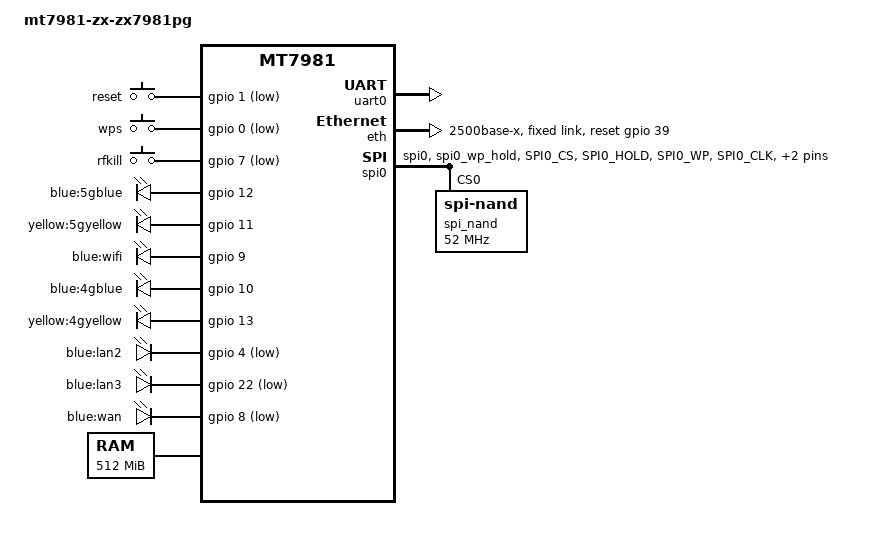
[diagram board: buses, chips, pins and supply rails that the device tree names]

// SPDX-License-Identifier: GPL-2.0

/dts-v1/;
#include "mt7981.dtsi"
#include <dt-bindings/gpio/gpio.h>

/ {
	#address-cells = <1>;
	#size-cells = <1>;
	model = "mt7981-zx-zx7981pg";
	compatible = "mediatek,mt7981", "mediatek,mt7981-rfb";

	config {
		bootcmd = "mtkboardboot";
		blink_led = "blue:5gblue";
		system_led = "yellow:5gyellow";
	};

	gpio-keys {
		compatible = "gpio-keys";

		button-reset {
			label = "reset";
			linux,code = <KEY_RESTART>;
			gpios = <&gpio 1 1>;
		};

		button-wps {
			label = "wps";
			linux,code = <KEY_WPS_BUTTON>;
			gpios = <&gpio 0 1>;
		};
		button-rfkill {
			label = "rfkill";
			linux,code = <KEY_RFKILL>;
			gpios = <&gpio 7 1>;
		};
	};

	leds {
		compatible = "gpio-leds";

		led-0 {
			label = "blue:5gblue";
			gpios = <&gpio 12 0>;
		};

		led-1 {
			label = "yellow:5gyellow";
			gpios = <&gpio 11 0>;
		};

		running_led: led-2 {
			label = "blue:wifi";
			gpios = <&gpio 9 0>;
		};

		upgrade_led: led-3 {
			label = "blue:4gblue";
			gpios = <&gpio 10 0>;
		};

		boot_led: led-4 {
			label = "yellow:4gyellow";
			gpios = <&gpio 13 0>;
		};

		led-6 {
			label = "blue:lan2";
			gpios = <&gpio 4 1>;
		};

		led-7 {
			label = "blue:lan3";
			gpios = <&gpio 22 1>;
		};

		led-8 {
			label = "blue:wan";
			gpios = <&gpio 8 1>;
		};
	};

	memory@40000000 {
		device_type = "memory";
		reg = <0x40000000 0x20000000>;
	};

	bl2_verify {
		bl2_compatible = "spim-nand";
	};
};

&uart0 {
	status = "okay";
};

&eth {
	status = "okay";
	mediatek,gmac-id = <0>;
	phy-mode = "2500base-x";
	mediatek,switch = "mt7531";
	reset-gpios = <&gpio 39 GPIO_ACTIVE_HIGH>;

	fixed-link {
		speed = <2500>;
		full-duplex;
	};
};

&pinctrl {
	spi_flash_pins: spi0-pins-func-1 {
		mux {
			function = "flash";
			groups = "spi0", "spi0_wp_hold";
		};

		conf-pu {
			pins = "SPI0_CS", "SPI0_HOLD", "SPI0_WP";
			drive-strength = <MTK_DRIVE_8mA>;
			bias-pull-up = <MTK_PUPD_SET_R1R0_11>;
		};

		conf-pd {
			pins = "SPI0_CLK", "SPI0_MOSI", "SPI0_MISO";
			drive-strength = <MTK_DRIVE_8mA>;
			bias-pull-down = <MTK_PUPD_SET_R1R0_11>;
		};
	};
};

&spi0 {
	#address-cells = <1>;
	#size-cells = <0>;
	pinctrl-names = "default";
	pinctrl-0 = <&spi_flash_pins>;
	status = "okay";
	must_tx;
	enhance_timing;
	dma_ext;
	ipm_design;
	support_quad;
	tick_dly = <2>;
	sample_sel = <0>;

	spi_nand@0 {
		compatible = "spi-nand";
		reg = <0>;
		spi-max-frequency = <52000000>;
	};
};

&watchdog {
	status = "disabled";
};
